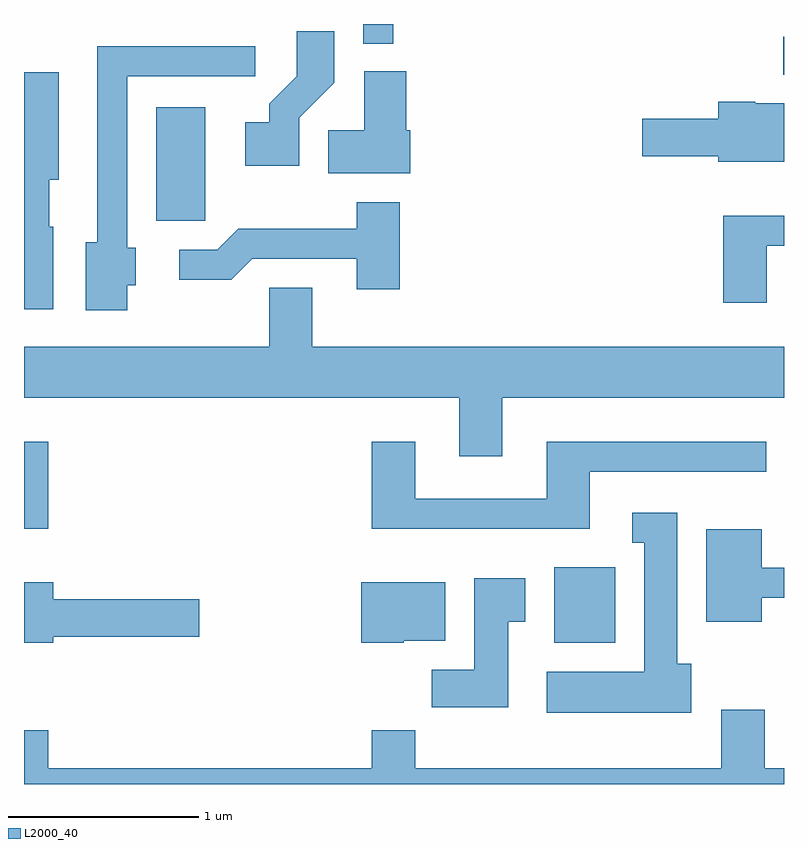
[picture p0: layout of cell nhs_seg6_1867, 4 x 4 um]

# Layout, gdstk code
import gdstk
lib = gdstk.Library(unit=1e-6, precision=1e-09)
def R(c, l, rs):  # rectangles x0, y0, x1, y1
    for r in rs: c.add(gdstk.rectangle(r[:2], r[2:], *l))
def P(c, l, *ps):  # polygons
    for p in ps: c.add(gdstk.Polygon(p, *l))
L2000_40 = (2000, 40)

nhs_seg6_1867 = lib.new_cell('nhs_seg6_1867')
R(nhs_seg6_1867, L2000_40, [(244.401,1610.906,244.724,1611.304), (241.611,1611.506,241.739,1611.964), (242.306,1613.126,242.564,1613.724), (245.606,1613.896,245.611,1614.094), (243.396,1614.058,243.554,1614.162)])
P(nhs_seg6_1867, L2000_40, [(243.059,1613.669),(243.244,1613.854),(243.244,1614.124),(243.046,1614.124),(243.046,1613.887),(242.901,1613.742),(242.901,1613.644),(242.776,1613.644),(242.776,1613.416),(243.059,1613.416)],
  [(242.154,1612.786),(242.199,1612.786),(242.199,1612.984),(242.154,1612.984),(242.154,1613.886),(242.828,1613.886),(242.828,1614.044),(241.996,1614.044),(241.996,1613.014),(241.936,1613.014),(241.936,1612.656),(242.154,1612.656)],
  [(243.644,1613.604),(243.624,1613.604),(243.624,1613.914),(243.401,1613.914),(243.401,1613.604),(243.211,1613.604),(243.211,1613.376),(243.644,1613.376)],
  [(241.764,1613.094),(241.744,1613.094),(241.744,1613.341),(241.794,1613.341),(241.794,1613.909),(241.611,1613.909),(241.611,1612.661),(241.764,1612.661)],
  [(245.611,1613.744),(245.46,1613.744),(245.46,1613.754),(245.266,1613.754),(245.266,1613.664),(244.866,1613.664),(244.866,1613.466),(245.266,1613.466),(245.266,1613.436),(245.611,1613.436)],
  [(243.589,1613.224),(243.361,1613.224),(243.361,1613.084),(242.739,1613.084),(242.629,1612.974),(242.428,1612.974),(242.428,1612.816),(242.702,1612.816),(242.812,1612.926),(243.361,1612.926),(243.361,1612.766),(243.589,1612.766)],
  [(245.519,1612.996),(245.611,1612.996),(245.611,1613.154),(245.291,1613.154),(245.291,1612.696),(245.519,1612.696)],
  [(244.129,1612.196),(245.611,1612.196),(245.611,1612.464),(243.129,1612.464),(243.129,1612.774),(242.901,1612.774),(242.901,1612.464),(241.611,1612.464),(241.611,1612.196),(243.901,1612.196),(243.901,1611.886),(244.129,1611.886)],
  [(244.589,1611.806),(245.518,1611.806),(245.518,1611.964),(244.361,1611.964),(244.361,1611.664),(243.669,1611.664),(243.669,1611.964),(243.441,1611.964),(243.441,1611.506),(244.589,1611.506)],
  [(245.124,1610.794),(245.049,1610.794),(245.049,1611.589),(244.813,1611.589),(244.813,1611.431),(244.876,1611.431),(244.876,1610.754),(244.361,1610.754),(244.361,1610.536),(245.124,1610.536)],
  [(245.494,1611.141),(245.611,1611.141),(245.611,1611.299),(245.494,1611.299),(245.494,1611.504),(245.201,1611.504),(245.201,1611.016),(245.494,1611.016)],
  [(244.159,1611.016),(244.249,1611.016),(244.249,1611.244),(243.981,1611.244),(243.981,1610.764),(243.756,1610.764),(243.756,1610.566),(244.159,1610.566)],
  [(241.764,1610.936),(242.534,1610.936),(242.534,1611.134),(241.764,1611.134),(241.764,1611.224),(241.611,1611.224),(241.611,1610.906),(241.764,1610.906)],
  [(243.61,1610.916),(243.829,1610.916),(243.829,1611.224),(243.386,1611.224),(243.386,1610.906),(243.61,1610.906)],
  [(245.611,1610.244),(245.509,1610.244),(245.509,1610.554),(245.281,1610.554),(245.281,1610.244),(243.669,1610.244),(243.669,1610.444),(243.441,1610.444),(243.441,1610.244),(241.739,1610.244),(241.739,1610.444),(241.611,1610.444),(241.611,1610.162),(245.611,1610.162)])

lib.write_gds('nhs_seg6_1867.gds')
